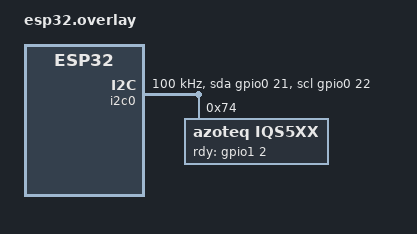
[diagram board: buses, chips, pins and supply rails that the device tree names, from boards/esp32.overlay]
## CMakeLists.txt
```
# SPDX-License-Identifier: Apache-2.0

cmake_minimum_required(VERSION 3.20.0)
find_package(Zephyr REQUIRED HINTS $ENV{ZEPHYR_BASE})
project(iqs5xx)

target_sources(app PRIVATE src/main.c)
```

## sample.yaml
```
sample:
  name: Touch iqs5xx Sample.
tests:
  sample.touch.iqs5xx:
    tags: iqs5xx
    platform_allow: esp32
    depends_on: i2c
    harness: console
    harness_config:
      type: one_line
      regex:
        - "IQS Driver Probed. Product Number: (.*)"
```

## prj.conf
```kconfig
CONFIG_LOG=y

# Hardware Drivers
CONFIG_GPIO=y

# Include IQS driver
CONFIG_I2C=y
CONFIG_TOUCH=y
CONFIG_IQS5XX=y
```

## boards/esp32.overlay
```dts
&i2c0 {
    status = "okay";
    clock-frequency = <I2C_BITRATE_STANDARD>;
    sda-gpios = <&gpio0 21 GPIO_OPEN_DRAIN>;
    scl-gpios = <&gpio0 22 GPIO_OPEN_DRAIN>;
    pinctrl-0 = <&i2c0_default>;
    pinctrl-names = "default";
    iqs5xx: iqs5xx@74 {
        compatible = "azoteq,iqs5xx";
        rdy-gpios = <&gpio1 2 GPIO_ACTIVE_HIGH>; //IO34
        reg = <0x74>;
    };
};
```

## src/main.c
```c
/*
 * Copyright (C) 2022 Ryan Walker <info@interruptlabs.ca>
 *
 * SPDX-License-Identifier: Apache-2.0
 */

#include <zephyr/device.h>
#include <zephyr/devicetree.h>
#include <zephyr/drivers/gpio.h>
#include <zephyr/drivers/touch.h>
#include <zephyr/kernel.h>
#include <zephyr/logging/log.h>

#include <esp_event.h>
#include <esp_timer.h>

#define SLEEP_TIME_MS 10

LOG_MODULE_REGISTER(iqs5xx_sample, LOG_LEVEL_DBG);

void main(void)
{
	const struct device *trackpad = DEVICE_DT_GET(DT_NODELABEL(iqs5xx));

	if (!device_is_ready(trackpad)) {
		LOG_ERR("Trackpad Not Ready!");
		return;
	}

	while (true) {
		if (num_fingers_get(trackpad)) {
			int16_t x_pos = x_pos_get_abs(trackpad);
			int16_t y_pos = y_pos_get_abs(trackpad);

			LOG_INF("x: %d, y: %d", x_pos, y_pos);
		}
		k_msleep(SLEEP_TIME_MS);
	}
}
```
